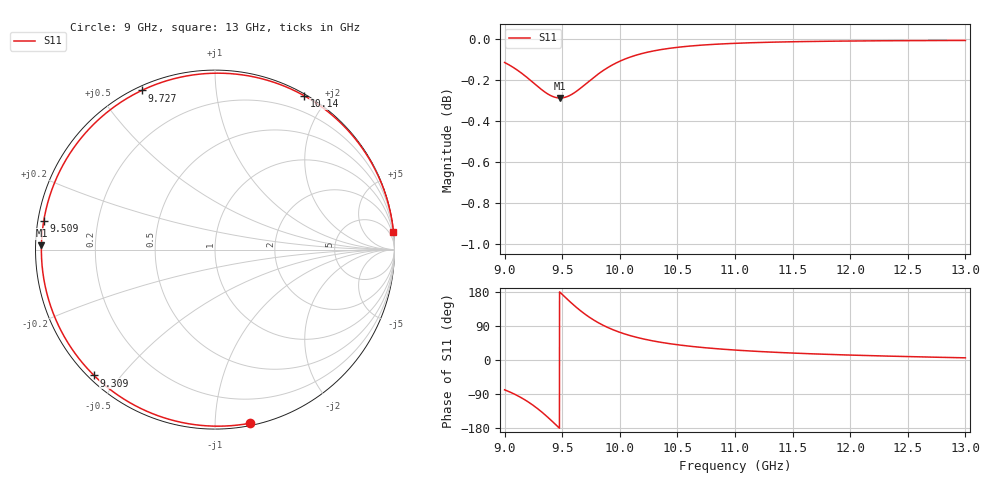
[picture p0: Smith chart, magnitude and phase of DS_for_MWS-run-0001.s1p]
! TOUCHSTONE file generated by CST DESIGN STUDIO
! Date and time: Tue Feb  4 13:47:34 2025
! Project name: C:\Work\MatlabApps\UnitCellOptimizationMatlab\CST\unitcell.cst
! Tree item: Tasks\Sweep1\SPara1\S-Parameters
! Header version: 2024
! Port assignment regex: !\s*Touchstone port\s*([0-9]+)\s*=\s*(CST MWS port|CST DES external port|CST DES block port)\s*(.+)\s* \(\"(.*)\"\)(\s*mode\s*([0-9]+))?.*
! Touchstone port assignment:
! Touchstone port 1 = CST DES external port 1 ("")
# GHz S MA R 50
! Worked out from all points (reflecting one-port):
!   4001 points, 9 GHz to 13 GHz, reference 50 ohm
!   lowest |S11| = -0.3 dB at 9.481 GHz (marker M1), VSWR 60.34, Z = 0.829 + j0.62 ohm
!   phase of S11 starts at -79 deg and turns -276 deg over the sweep
!   S11 on the Smith chart (normalised r, x): 9 GHz: 0.02, -1.22; 9.309 GHz: 0.02, -0.43; 9.509 GHz: 0.02, +0.08; 9.727 GHz: 0.02, +0.64; 10.14 GHz: 0.02, +1.74; 13 GHz: 0, +20
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9  0.9868 -78.7
9.077  0.984 -88.8
9.175  0.9796 -104.9
9.244  0.976 -118.8
9.309  0.9726 -133.9
9.354  0.9704 -145.5
9.402  0.9686 -158.6
9.442  0.9677 -170.1
9.481  0.9674 178.6
9.5  0.9675 173.0
9.509  0.9675 170.4
9.562  0.9687 155.3
9.622  0.9709 139.2
9.674  0.9735 126.4
9.727  0.9762 114.7
9.782  0.979 103.9
9.843  0.9818 93.6
9.92  0.9849 82.5
10  0.9875 73.1
10.145  0.9909 59.9
10.306  0.9934 49.4
10.5  0.9952 40.3
10.722  0.9965 32.9
11  0.9975 26.2
11.5  0.9983 18.3
12  0.9987 13.0
12.5  0.999 9.0
13  0.9991 5.7
